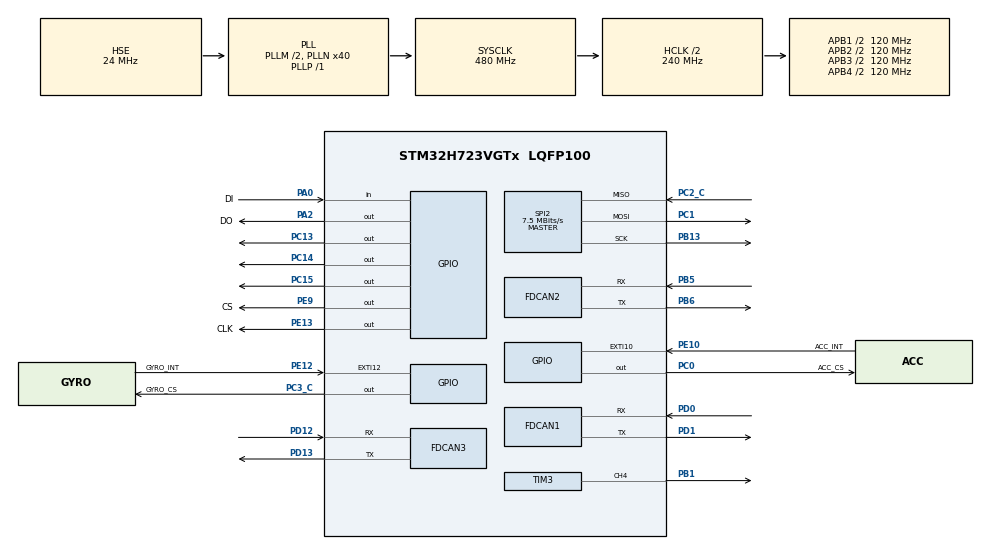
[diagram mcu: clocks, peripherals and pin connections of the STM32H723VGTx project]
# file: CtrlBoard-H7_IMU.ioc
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Dma.Request0=SPI2_RX
Dma.Request1=SPI2_TX
Dma.SPI2_RX.0.Direction=DMA_PERIPH_TO_MEMORY
Dma.SPI2_RX.0.EventEnable=DISABLE
Dma.SPI2_RX.0.FIFOMode=DMA_FIFOMODE_DISABLE
Dma.SPI2_RX.0.Instance=DMA1_Stream0
Dma.SPI2_RX.0.MemDataAlignment=DMA_MDATAALIGN_BYTE
Dma.SPI2_RX.0.MemInc=DMA_MINC_ENABLE
Dma.SPI2_RX.0.Mode=DMA_NORMAL
Dma.SPI2_RX.0.PeriphDataAlignment=DMA_PDATAALIGN_BYTE
Dma.SPI2_RX.0.PeriphInc=DMA_PINC_DISABLE
Dma.SPI2_RX.0.Polarity=HAL_DMAMUX_REQ_GEN_RISING
Dma.SPI2_RX.0.Priority=DMA_PRIORITY_VERY_HIGH
Dma.SPI2_RX.0.RequestNumber=1
Dma.SPI2_RX.0.SignalID=NONE
Dma.SPI2_RX.0.SyncEnable=DISABLE
Dma.SPI2_RX.0.SyncPolarity=HAL_DMAMUX_SYNC_NO_EVENT
Dma.SPI2_RX.0.SyncRequestNumber=1
Dma.SPI2_RX.0.SyncSignalID=NONE
Dma.SPI2_TX.1.Direction=DMA_MEMORY_TO_PERIPH
Dma.SPI2_TX.1.EventEnable=DISABLE
Dma.SPI2_TX.1.FIFOMode=DMA_FIFOMODE_DISABLE
Dma.SPI2_TX.1.Instance=DMA1_Stream1
Dma.SPI2_TX.1.MemDataAlignment=DMA_MDATAALIGN_BYTE
Dma.SPI2_TX.1.MemInc=DMA_MINC_ENABLE
Dma.SPI2_TX.1.Mode=DMA_NORMAL
Dma.SPI2_TX.1.PeriphDataAlignment=DMA_PDATAALIGN_BYTE
Dma.SPI2_TX.1.PeriphInc=DMA_PINC_DISABLE
Dma.SPI2_TX.1.Polarity=HAL_DMAMUX_REQ_GEN_RISING
Dma.SPI2_TX.1.Priority=DMA_PRIORITY_HIGH
Dma.SPI2_TX.1.RequestNumber=1
Dma.SPI2_TX.1.SignalID=NONE
Dma.SPI2_TX.1.SyncEnable=DISABLE
Dma.SPI2_TX.1.SyncPolarity=HAL_DMAMUX_SYNC_NO_EVENT
Dma.SPI2_TX.1.SyncRequestNumber=1
Dma.SPI2_TX.1.SyncSignalID=NONE
FDCAN1.CalculateBaudRateNominal=1000000
FDCAN1.CalculateTimeBitNominal=1000
FDCAN1.CalculateTimeQuantumNominal=40.0
FDCAN1.DataPrescaler=4
FDCAN1.DataTimeSeg1=19
FDCAN1.DataTimeSeg2=5
FDCAN1.ExtFiltersNbr=5
FDCAN1.NominalPrescaler=4
FDCAN1.NominalTimeSeg1=19
FDCAN1.NominalTimeSeg2=5
FDCAN1.RxFifo0ElmtSize=FDCAN_DATA_BYTES_24
FDCAN1.RxFifo0ElmtsNbr=4
FDCAN1.RxFifo1ElmtSize=FDCAN_DATA_BYTES_24
FDCAN1.StdFiltersNbr=5
FDCAN1.TxElmtSize=FDCAN_DATA_BYTES_24
FDCAN1.TxFifoQueueElmtsNbr=8
FDCAN2.CalculateBaudRateNominal=1000000
FDCAN2.CalculateTimeBitNominal=1000
FDCAN2.CalculateTimeQuantumNominal=50.0
FDCAN2.DataPrescaler=5
FDCAN2.DataTimeSeg1=14
FDCAN2.DataTimeSeg2=5
FDCAN2.ExtFiltersNbr=5
FDCAN2.MessageRAMOffset=854
FDCAN2.NominalPrescaler=5
FDCAN2.NominalTimeSeg1=14
FDCAN2.NominalTimeSeg2=5
FDCAN2.RxFifo1ElmtSize=FDCAN_DATA_BYTES_24
FDCAN2.RxFifo1ElmtsNbr=4
FDCAN2.StdFiltersNbr=5
FDCAN2.TxElmtSize=FDCAN_DATA_BYTES_16
FDCAN2.TxFifoQueueElmtsNbr=4
FDCAN3.CalculateBaudRateNominal=1000000
FDCAN3.CalculateTimeBitNominal=1000
FDCAN3.CalculateTimeQuantumNominal=50.0
FDCAN3.DataPrescaler=5
FDCAN3.DataTimeSeg1=14
FDCAN3.DataTimeSeg2=5
FDCAN3.ExtFiltersNbr=5
FDCAN3.MessageRAMOffset=1709
FDCAN3.NominalPrescaler=5
FDCAN3.NominalTimeSeg1=14
FDCAN3.NominalTimeSeg2=5
FDCAN3.RxFifo0ElmtsNbr=2
FDCAN3.StdFiltersNbr=5
FDCAN3.TxFifoQueueElmtsNbr=3
FREERTOS.MEMORY_ALLOCATION=0
FREERTOS.Tasks01=defaultTask,0,128,StartDefaultTask,Default,NULL,Dynamic,NULL,NULL;INS_TASK,3,512,INS_Task,Default,NULL,Dynamic,NULL,NULL;CHASSISR_TASK,1,512,ChassisR_Task,Default,NULL,Dynamic,NULL,NULL;CHASSISL_TASK,1,512,ChassisL_Task,Default,NULL,Dynamic,NULL,NULL;OBSERVE_TASK,2,512,OBSERVE_Task,Default,NULL,Dynamic,NULL,NULL;PS2_TASK,1,128,PS2_Task,Default,NULL,Dynamic,NULL,NULL
FREERTOS.configENABLE_FPU=1
FREERTOS.configTOTAL_HEAP_SIZE=30720
Mcu.Family=STM32H7
Mcu.Name=STM32H723VGTx
Mcu.Package=LQFP100
NVIC.DMA1_Stream0_IRQn=true\:6\:0\:true\:false\:true\:true\:false\:true\:true
NVIC.DMA1_Stream1_IRQn=true\:6\:0\:true\:false\:true\:true\:false\:true\:true
NVIC.FDCAN1_IT0_IRQn=true\:6\:0\:true\:false\:true\:true\:true\:true\:true
NVIC.FDCAN2_IT0_IRQn=true\:5\:0\:true\:false\:true\:true\:true\:true\:true
NVIC.FDCAN3_IT0_IRQn=true\:5\:0\:false\:false\:true\:true\:true\:true\:true
NVIC.PriorityGroup=NVIC_PRIORITYGROUP_4
NVIC.SPI2_IRQn=true\:5\:0\:true\:false\:true\:true\:false\:true\:true
NVIC.TIM2_IRQn=true\:15\:0\:false\:false\:true\:false\:false\:true\:true
NVIC.TimeBase=TIM2_IRQn
NVIC.TimeBaseIP=TIM2
PA0.GPIO_Label=DI
PA0.GPIO_PuPd=GPIO_PULLUP
PA0.Signal=GPIO_Input
PA13(JTMS/SWDIO).Mode=Serial_Wire
PA13(JTMS/SWDIO).Signal=DEBUG_JTMS-SWDIO
PA14(JTCK/SWCLK).Mode=Serial_Wire
PA14(JTCK/SWCLK).Signal=DEBUG_JTCK-SWCLK
PA2.GPIO_Label=DO
PA2.GPIO_PuPd=GPIO_PULLUP
PA2.GPIO_Speed=GPIO_SPEED_FREQ_VERY_HIGH
PA2.PinState=GPIO_PIN_SET
PA2.Signal=GPIO_Output
PB1.Signal=S_TIM3_CH4
PB13.GPIO_Speed=GPIO_SPEED_FREQ_VERY_HIGH
PB13.Mode=Full_Duplex_Master
PB13.Signal=SPI2_SCK
PB5.Mode=FDCAN_Activate
PB5.Signal=FDCAN2_RX
PB6.Mode=FDCAN_Activate
PB6.Signal=FDCAN2_TX
PC0.GPIO_Label=ACC_CS
PC0.GPIO_Speed=GPIO_SPEED_FREQ_VERY_HIGH
PC0.PinState=GPIO_PIN_SET
PC0.Signal=GPIO_Output
PC1.GPIO_Speed=GPIO_SPEED_FREQ_VERY_HIGH
PC1.Mode=Full_Duplex_Master
PC1.Signal=SPI2_MOSI
PC13.Signal=GPIO_Output
PC14-OSC32_IN.Signal=GPIO_Output
PC15.PinState=GPIO_PIN_SET
PC15.Signal=GPIO_Output
PC2_C.GPIO_Speed=GPIO_SPEED_FREQ_VERY_HIGH
PC2_C.Mode=Full_Duplex_Master
PC2_C.Signal=SPI2_MISO
PC3_C.GPIO_Label=GYRO_CS
PC3_C.GPIO_Speed=GPIO_SPEED_FREQ_VERY_HIGH
PC3_C.PinState=GPIO_PIN_SET
PC3_C.Signal=GPIO_Output
PD0.Mode=FDCAN_Activate
PD0.Signal=FDCAN1_RX
PD1.Mode=FDCAN_Activate
PD1.Signal=FDCAN1_TX
PD12.Mode=FDCAN_Activate
PD12.Signal=FDCAN3_RX
PD13.Mode=FDCAN_Activate
PD13.Signal=FDCAN3_TX
PE10.GPIO_Label=ACC_INT
PE10.Signal=GPXTI10
PE12.GPIO_Label=GYRO_INT
PE12.Signal=GPXTI12
PE13.GPIO_Label=CLK
PE13.GPIO_PuPd=GPIO_PULLUP
PE13.GPIO_Speed=GPIO_SPEED_FREQ_VERY_HIGH
PE13.PinState=GPIO_PIN_SET
PE13.Signal=GPIO_Output
PE9.GPIO_Label=CS
PE9.GPIO_PuPd=GPIO_PULLUP
PE9.GPIO_Speed=GPIO_SPEED_FREQ_VERY_HIGH
PE9.PinState=GPIO_PIN_SET
PE9.Signal=GPIO_Output
PH0-OSC_IN.Mode=HSE-External-Oscillator
PH0-OSC_IN.Signal=RCC_OSC_IN
PH1-OSC_OUT.Mode=HSE-External-Oscillator
PH1-OSC_OUT.Signal=RCC_OSC_OUT
ProjectManager.HeapSize=0x200
ProjectManager.StackSize=0x800
ProjectManager.TargetToolchain=MDK-ARM V5.27
RCC.ADCFreq_Value=100000000
RCC.APB1Freq_Value=120000000
RCC.APB2Freq_Value=120000000
RCC.APB3Freq_Value=120000000
RCC.APB4Freq_Value=120000000
RCC.CortexFreq_Value=480000000
RCC.D1PPRE=RCC_APB3_DIV2
RCC.D2PPRE1=RCC_APB1_DIV2
RCC.D2PPRE2=RCC_APB2_DIV2
RCC.D3PPRE=RCC_APB4_DIV2
RCC.DIVM1=2
RCC.DIVM2=24
RCC.DIVN1=40
RCC.DIVN2=200
RCC.DIVP1=1
RCC.FDCANCLockSelection=RCC_FDCANCLKSOURCE_PLL2
RCC.HCLKFreq_Value=240000000
RCC.HPRE=RCC_HCLK_DIV2
RCC.HSE_VALUE=24000000
RCC.PLL2FRACN=0
RCC.PLL3FRACN=0
RCC.PLLFRACN=0
RCC.PLLSourceVirtual=RCC_PLLSOURCE_HSE
RCC.SYSCLKFreq_VALUE=480000000
RCC.SYSCLKSource=RCC_SYSCLKSOURCE_PLLCLK
RCC.USBFreq_Value=240000000
SH.S_TIM3_CH4.0=TIM3_CH4,PWM Generation4 CH4
SPI2.BaudRatePrescaler=SPI_BAUDRATEPRESCALER_32
SPI2.CLKPhase=SPI_PHASE_2EDGE
SPI2.CLKPolarity=SPI_POLARITY_HIGH
SPI2.CalculateBaudRate=7.5 MBits/s
SPI2.DataSize=SPI_DATASIZE_8BIT
SPI2.Direction=SPI_DIRECTION_2LINES
SPI2.Mode=SPI_MODE_MASTER
SPI2.VirtualType=VM_MASTER
TIM3.AutoReloadPreload=TIM_AUTORELOAD_PRELOAD_ENABLE
TIM3.Channel-PWM\ Generation4\ CH4=TIM_CHANNEL_4
TIM3.Period=10000-1
TIM3.Prescaler=24-1
VP_FREERTOS_VS_CMSIS_V1.Mode=CMSIS_V1
VP_SYS_VS_tim2.Mode=TIM2
board=custom

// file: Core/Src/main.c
/* USER CODE BEGIN Header */
/**
  ******************************************************************************
  * @file           : main.c
  * @brief          : Main program body
  ******************************************************************************
  * @attention
  *
  * Copyright (c) 2024 STMicroelectronics.
  * All rights reserved.
  *
  * This software is licensed under terms that can be found in the LICENSE file
  * in the root directory of this software component.
  * If no LICENSE file comes with this software, it is provided AS-IS.
  *
  ******************************************************************************
  */
/* USER CODE END Header */
#include "main.h"
#include "cmsis_os.h"
#include "dma.h"
#include "fdcan.h"
#include "spi.h"
#include "tim.h"
#include "gpio.h"

/* USER CODE BEGIN Includes */
#include "BMI088driver.h"
#include "kalman_filter.h"
#include "mahony_filter.h"
#include "bsp_dwt.h"
#include "BMI088Middleware.h"
#include "can_bsp.h"
#include "robot_config.h"
/* USER CODE END Includes */

void SystemClock_Config(void);
void PeriphCommonClock_Config(void);
void MX_FREERTOS_Init(void);

int main(void)
{

  /* MCU Configuration--------------------------------------------------------*/

  /* Reset of all peripherals, Initializes the Flash interface and the Systick. */
  HAL_Init();

  /* USER CODE BEGIN Init */
//06 01 00 00 00 00 00 00 00 00 00 00 00 00 80 3F
  /* USER CODE END Init */

  /* Configure the system clock */
  SystemClock_Config();

/* Configure the peripherals common clocks */
  PeriphCommonClock_Config();

  /* Initialize all configured peripherals */
  MX_GPIO_Init();
  MX_DMA_Init();
  MX_SPI2_Init();
  MX_FDCAN1_Init();
  MX_FDCAN2_Init();
  MX_TIM3_Init();
  MX_FDCAN3_Init();
  /* USER CODE BEGIN 2 */
	DWT_Init(480);

  /* The wheel-leg application requires the IMU before it starts control.
   * The arm application must still start CAN/FreeRTOS when the IMU is absent. */
#if (ROBOT_TYPE == ROBOT_WHEEL_LEG)
  while (BMI088_init(&hspi2, 0) != BMI088_NO_ERROR)
	{
	  ;
	}
#endif
#if (ROBOT_TYPE == ROBOT_ARM)
	/* Upper-left 2+2 connector: PC14 enables its power output; CAN is FDCAN1. */
	Power_OUT1_OFF;
	Power_OUT2_ON;
#else
	Power_OUT1_ON;
	Power_OUT2_ON;
#endif

  FDCAN1_Config();//can过滤器初始化
	FDCAN2_Config();
  /* USER CODE END 2 */

  /* Call init function for freertos objects (in freertos.c) */
  MX_FREERTOS_Init();

  /* Start scheduler */
  osKernelStart();

  /* We should never get here as control is now taken by the scheduler */
  /* Infinite loop */
  while (1)
  {

  }
}

void SystemClock_Config(void)
{
  RCC_OscInitTypeDef RCC_OscInitStruct = {0};
  RCC_ClkInitTypeDef RCC_ClkInitStruct = {0};

  /** Supply configuration update enable
  */
  HAL_PWREx_ConfigSupply(PWR_LDO_SUPPLY);

  /** Configure the main internal regulator output voltage
  */
  __HAL_PWR_VOLTAGESCALING_CONFIG(PWR_REGULATOR_VOLTAGE_SCALE0);

  while(!__HAL_PWR_GET_FLAG(PWR_FLAG_VOSRDY)) {}

  /** Initializes the RCC Oscillators according to the specified parameters
  * in the RCC_OscInitTypeDef structure.
  */
  RCC_OscInitStruct.OscillatorType = RCC_OSCILLATORTYPE_HSE;
  RCC_OscInitStruct.HSEState = RCC_HSE_ON;
  RCC_OscInitStruct.PLL.PLLState = RCC_PLL_ON;
  RCC_OscInitStruct.PLL.PLLSource = RCC_PLLSOURCE_HSE;
  RCC_OscInitStruct.PLL.PLLM = 2;
  RCC_OscInitStruct.PLL.PLLN = 40;
  RCC_OscInitStruct.PLL.PLLP = 1;
  RCC_OscInitStruct.PLL.PLLQ = 2;
  RCC_OscInitStruct.PLL.PLLR = 2;
  RCC_OscInitStruct.PLL.PLLRGE = RCC_PLL1VCIRANGE_3;
  RCC_OscInitStruct.PLL.PLLVCOSEL = RCC_PLL1VCOWIDE;
  RCC_OscInitStruct.PLL.PLLFRACN = 0;
  if (HAL_RCC_OscConfig(&RCC_OscInitStruct) != HAL_OK)
  {
    Error_Handler();
  }

  /** Initializes the CPU, AHB and APB buses clocks
  */
  RCC_ClkInitStruct.ClockType = RCC_CLOCKTYPE_HCLK|RCC_CLOCKTYPE_SYSCLK
                              |RCC_CLOCKTYPE_PCLK1|RCC_CLOCKTYPE_PCLK2
                              |RCC_CLOCKTYPE_D3PCLK1|RCC_CLOCKTYPE_D1PCLK1;
  RCC_ClkInitStruct.SYSCLKSource = RCC_SYSCLKSOURCE_PLLCLK;
  RCC_ClkInitStruct.SYSCLKDivider = RCC_SYSCLK_DIV1;
  RCC_ClkInitStruct.AHBCLKDivider = RCC_HCLK_DIV2;
  RCC_ClkInitStruct.APB3CLKDivider = RCC_APB3_DIV2;
  RCC_ClkInitStruct.APB1CLKDivider = RCC_APB1_DIV2;
  RCC_ClkInitStruct.APB2CLKDivider = RCC_APB2_DIV2;
  RCC_ClkInitStruct.APB4CLKDivider = RCC_APB4_DIV2;

  if (HAL_RCC_ClockConfig(&RCC_ClkInitStruct, FLASH_LATENCY_3) != HAL_OK)
  {
    Error_Handler();
  }
}

void PeriphCommonClock_Config(void)
{
  RCC_PeriphCLKInitTypeDef PeriphClkInitStruct = {0};

  /** Initializes the peripherals clock
  */
  PeriphClkInitStruct.PeriphClockSelection = RCC_PERIPHCLK_FDCAN;
  PeriphClkInitStruct.PLL2.PLL2M = 24;
  PeriphClkInitStruct.PLL2.PLL2N = 200;
  PeriphClkInitStruct.PLL2.PLL2P = 2;
  PeriphClkInitStruct.PLL2.PLL2Q = 2;
  PeriphClkInitStruct.PLL2.PLL2R = 2;
  PeriphClkInitStruct.PLL2.PLL2RGE = RCC_PLL2VCIRANGE_0;
  PeriphClkInitStruct.PLL2.PLL2VCOSEL = RCC_PLL2VCOMEDIUM;
  PeriphClkInitStruct.PLL2.PLL2FRACN = 0;
  PeriphClkInitStruct.FdcanClockSelection = RCC_FDCANCLKSOURCE_PLL2;
  if (HAL_RCCEx_PeriphCLKConfig(&PeriphClkInitStruct) != HAL_OK)
  {
    Error_Handler();
  }
}

void HAL_TIM_PeriodElapsedCallback(TIM_HandleTypeDef *htim)
{
  if (htim->Instance == TIM2) {
    HAL_IncTick();
  }
}

void Error_Handler(void)
{
  __disable_irq();
  while (1)
  {
  }
}

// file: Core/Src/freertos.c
/* USER CODE BEGIN Header */
/**
  ******************************************************************************
  * File Name          : freertos.c
  * Description        : Code for freertos applications
  ******************************************************************************
  * @attention
  *
  * Copyright (c) 2024 STMicroelectronics.
  * All rights reserved.
  *
  * This software is licensed under terms that can be found in the LICENSE file
  * in the root directory of this software component.
  * If no LICENSE file comes with this software, it is provided AS-IS.
  *
  ******************************************************************************
  */
/* USER CODE END Header */

#include "FreeRTOS.h"
#include "task.h"
#include "main.h"
#include "cmsis_os.h"

/* USER CODE BEGIN Includes */
#include "robot_config.h"
#if ROBOT_TYPE == ROBOT_WHEEL_LEG
#include "INS_task.h"
#include "chassisR_task.h"
#include "chassisL_task.h"
#include "observe_task.h"
#include "ps2_task.h"
#include "gamepad_task.h"
#include "remote_input_config.h"
#elif ROBOT_TYPE == ROBOT_ARM
#include "arm_task.h"
#endif
/* USER CODE END Includes */

osThreadId defaultTaskHandle;
#if ROBOT_TYPE == ROBOT_WHEEL_LEG
osThreadId INS_TASKHandle;
osThreadId CHASSISR_TASKHandle;
osThreadId CHASSISL_TASKHandle;
osThreadId OBSERVE_TASKHandle;
osThreadId PS2_TASKHandle;
#elif ROBOT_TYPE == ROBOT_ARM
osThreadId ARM_TASKHandle;
#endif

void StartDefaultTask(void const * argument);
#if ROBOT_TYPE == ROBOT_WHEEL_LEG
void INS_Task(void const * argument);
void ChassisR_Task(void const * argument);
void ChassisL_Task(void const * argument);
void OBSERVE_Task(void const * argument);
void PS2_Task(void const * argument);
#elif ROBOT_TYPE == ROBOT_ARM
void Arm_Task(void const * argument);
#endif

void MX_FREERTOS_Init(void); /* (MISRA C 2004 rule 8.1) */

void MX_FREERTOS_Init(void) {

  /* Create the thread(s) */
  /* definition and creation of defaultTask */
  osThreadDef(defaultTask, StartDefaultTask, osPriorityNormal, 0, 128);
  defaultTaskHandle = osThreadCreate(osThread(defaultTask), NULL);

#if ROBOT_TYPE == ROBOT_WHEEL_LEG
  /* Wheel-leg tasks own the chassis motors and their CAN traffic. */
  /* definition and creation of INS_TASK */
  osThreadDef(INS_TASK, INS_Task, osPriorityRealtime, 0, 512);
  INS_TASKHandle = osThreadCreate(osThread(INS_TASK), NULL);

  /* definition and creation of CHASSISR_TASK */
  osThreadDef(CHASSISR_TASK, ChassisR_Task, osPriorityAboveNormal, 0, 512);
  CHASSISR_TASKHandle = osThreadCreate(osThread(CHASSISR_TASK), NULL);

//  /* definition and creation of CHASSISL_TASK */
  osThreadDef(CHASSISL_TASK, ChassisL_Task, osPriorityAboveNormal, 0, 512);
  CHASSISL_TASKHandle = osThreadCreate(osThread(CHASSISL_TASK), NULL);

  /* definition and creation of OBSERVE_TASK */
  osThreadDef(OBSERVE_TASK, OBSERVE_Task, osPriorityHigh, 0, 512);
  OBSERVE_TASKHandle = osThreadCreate(osThread(OBSERVE_TASK), NULL);

  /* definition and creation of PS2_TASK */
  osThreadDef(PS2_TASK, PS2_Task, osPriorityAboveNormal, 0, 128);
  PS2_TASKHandle = osThreadCreate(osThread(PS2_TASK), NULL);
#elif ROBOT_TYPE == ROBOT_ARM
  /* Arm mode creates no wheel-leg task, preventing shared motor/CAN ownership. */
  osThreadDef(ARM_TASK, Arm_Task, osPriorityAboveNormal, 0, 256);
  ARM_TASKHandle = osThreadCreate(osThread(ARM_TASK), NULL);
#endif

}

void StartDefaultTask(void const * argument)
{
  for(;;)
  {
    osDelay(1);
  }
}

#if ROBOT_TYPE == ROBOT_WHEEL_LEG
void INS_Task(void const * argument)
{
  /* USER CODE BEGIN INS_Task */

  /* Infinite loop */
  for(;;)
  {
    INS_task();
  }
  /* USER CODE END INS_Task */
}

void ChassisR_Task(void const * argument)
{
  /* USER CODE BEGIN ChassisR_Task */
  /* Infinite loop */
  for(;;)
  {
    ChassisR_task();
  }
  /* USER CODE END ChassisR_Task */
}

void ChassisL_Task(void const * argument)
{
  /* USER CODE BEGIN ChassisL_Task */
  /* Infinite loop */
  for(;;)
  {
    ChassisL_task();
  }
  /* USER CODE END ChassisL_Task */
}

void OBSERVE_Task(void const * argument)
{
  /* USER CODE BEGIN OBSERVE_Task */
  /* Infinite loop */
  for(;;)
  {
    Observe_task();
  }
  /* USER CODE END OBSERVE_Task */
}

void PS2_Task(void const * argument)
{
  /* USER CODE BEGIN PS2_Task */
  /* Infinite loop */
  for(;;)
  {
#if __RC_TYPE == RC_PS2
    pstwo_task();
#elif __RC_TYPE == RC_GAMESIR_NOVA_LITE
    Gamepad_Task();
#endif
  }
  /* USER CODE END PS2_Task */
}
#elif ROBOT_TYPE == ROBOT_ARM
void Arm_Task(void const * argument)
{
  ArmTask_Run(argument);
}
#endif
